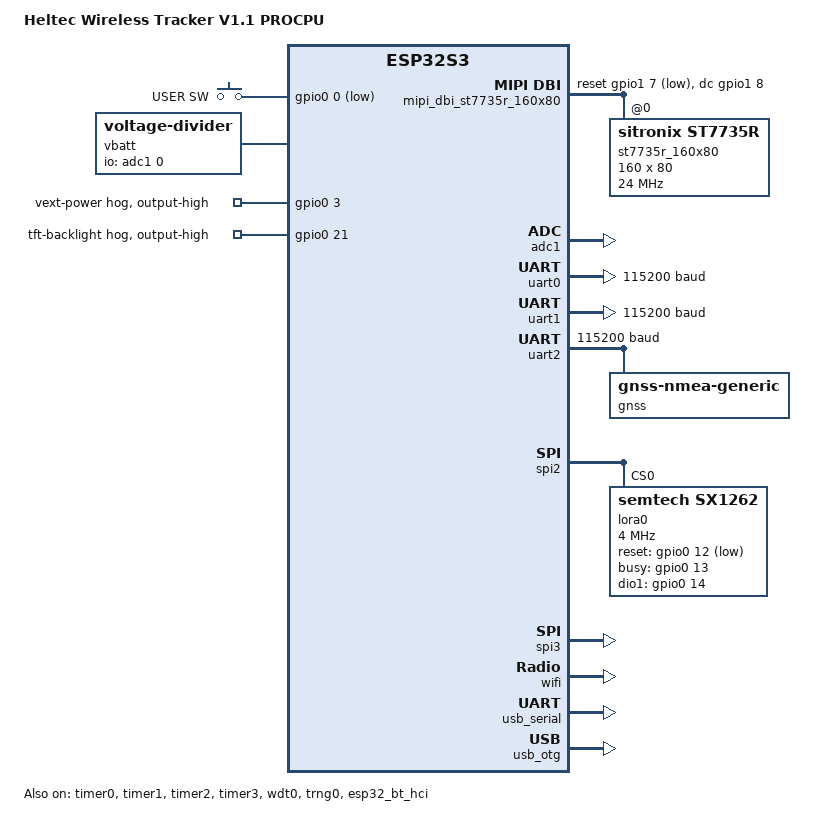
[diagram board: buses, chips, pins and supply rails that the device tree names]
/*
 * SPDX-FileCopyrightText: Copyright (c) 2021 Instituto de Pesquisas Eldorado (eldorado.org.br)
 * SPDX-FileCopyrightText: Copyright (c) 2022 Espressif Systems (Shanghai) Co., Ltd.
 * SPDX-FileCopyrightText: Copyright (c) 2023 The Zephyr Project Contributors
 *
 * SPDX-License-Identifier: Apache-2.0
 */
/dts-v1/;

#include <espressif/esp32s3/esp32s3_fn8.dtsi>
#include <espressif/partitions_0x0_amp.dtsi>
#include <zephyr/dt-bindings/input/input-event-codes.h>
#include <zephyr/dt-bindings/lora/sx126x.h>
#include "heltec_wireless_tracker-pinctrl.dtsi"

/ {
	model = "Heltec Wireless Tracker V1.1 PROCPU";
	compatible = "espressif,esp32s3";

	aliases {
		uart-0 = &uart0;
		uart-1 = &uart1;
		uart-2 = &uart2;
		lora0 = &lora0;
		sw0 = &button0;
		watchdog0 = &wdt0;
		gnss = &gnss;
		display0 = &st7735r_160x80;
	};

	gnss_rst: gnss_rst {
		compatible = "gpio-leds";
		gpios = <&gpio1 3 GPIO_ACTIVE_HIGH>;
		label = "GNSS Reset";
	};

	buttons {
		compatible = "gpio-keys";

		button0: button_0 {
			gpios = <&gpio0 0 (GPIO_PULL_UP | GPIO_ACTIVE_LOW)>;
			label = "USER SW";
			zephyr,code = <INPUT_KEY_0>;
		};
	};

	vbatt {
		compatible = "voltage-divider";
		io-channels = <&adc1 0>;
		output-ohms = <100000>;
		full-ohms = <(100000 + 390000)>;
	};

	chosen {
		zephyr,sram = &sram1;
		zephyr,console = &usb_serial;
		zephyr,shell-uart = &usb_serial;
		zephyr,flash = &flash0;
		zephyr,code-partition = &slot0_partition;
		zephyr,bt-hci = &esp32_bt_hci;
		zephyr,display = &st7735r_160x80;
	};

	mipi_dbi_st7735r_160x80 {
		compatible = "zephyr,mipi-dbi-spi";
		spi-dev = <&spi3>;
		dc-gpios = <&gpio1 8 GPIO_ACTIVE_HIGH>;  /* GPIO 40 = gpio1 pin 8 (40-32) */
		reset-gpios = <&gpio1 7 GPIO_ACTIVE_LOW>;  /* GPIO 39 = gpio1 pin 7 (39-32) */
		#address-cells = <1>;
		#size-cells = <0>;
		write-only;
		status = "okay";

		st7735r_160x80: st7735r@0 {
			compatible = "sitronix,st7735r";
			mipi-max-frequency = <24000000>;
			mipi-mode = "MIPI_DBI_MODE_SPI_4WIRE";
			reg = <0>;
			width = <160>;
			height = <80>;
			inversion-on;
			x-offset = <1>;
			y-offset = <26>;
			madctl = <0xa8>;
			colmod = <0x05>;
			invctr = <7>;
			vmctr1 = <0x0e>;
			pwctr1 = [a2 02 84];
			pwctr2 = [c1];
			pwctr3 = [0a 00];
			pwctr4 = [8a 2a];
			pwctr5 = [8a ee];
			frmctr1 = [01 26 2e];
			frmctr2 = [01 26 2e];
			frmctr3 = [01 26 2e 01 26 2e];
			gamctrp1 = [0f 1a 0f 18 2f 28 20 22 1f 1b 23 37 00 07 02 10];
			gamctrn1 = [0f 1b 0f 17 33 2c 29 2e 30 2e 30 3b 00 07 03 10];
			caset = [00 01 00 a0];
			raset = [00 1a 00 69];
		};
	};
};

&adc1 {
	status = "okay";
};

&uart0 {
	status = "okay";
	current-speed = <115200>;
	pinctrl-0 = <&uart0_default>;
	pinctrl-names = "default";
};

&uart1 {
	status = "okay";
	current-speed = <115200>;
	pinctrl-0 = <&uart1_default>;
	pinctrl-names = "default";
};

&uart2 {
	status = "okay";
	current-speed = <115200>;
	pinctrl-0 = <&uart2_default>;
	pinctrl-names = "default";

	gnss: gnss-nmea-generic {
		compatible = "gnss-nmea-generic";
		status = "okay";
	};
};

&gpio0 {
	status = "okay";

	vext-power {
		gpio-hog;
		gpios = <3 GPIO_ACTIVE_HIGH>;
		output-high;
	};

	tft-backlight {
		gpio-hog;
		gpios = <21 GPIO_ACTIVE_HIGH>;
		output-high;
	};
};

&gpio1 {
	status = "okay";
};

&spi2 {
	#address-cells = <1>;
	#size-cells = <0>;
	status = "okay";
	pinctrl-0 = <&spim2_default>;
	pinctrl-names = "default";

	lora0: lora@0 {
		compatible = "semtech,sx1262";
		reg = <0>;
		reset-gpios = <&gpio0 12 (GPIO_OPEN_DRAIN | GPIO_ACTIVE_LOW)>;
		busy-gpios = <&gpio0 13 GPIO_ACTIVE_HIGH>;
		dio1-gpios = <&gpio0 14 GPIO_ACTIVE_HIGH>;
		dio2-tx-enable;
		dio3-tcxo-voltage = <SX126X_DIO3_TCXO_1V8>;
		tcxo-power-startup-delay-ms = <5>;
		spi-max-frequency = <4000000>;
	};
};

&spi3 {
	#address-cells = <1>;
	#size-cells = <0>;
	pinctrl-0 = <&spim3_default>;
	cs-gpios = <&gpio1 6 GPIO_ACTIVE_LOW>;
	pinctrl-names = "default";
	use-iomux;
	status = "okay";
};

&twai {
	pinctrl-0 = <&twai_default>;
	pinctrl-names = "default";
};

&timer0 {
	status = "okay";
};

&timer1 {
	status = "okay";
};

&timer2 {
	status = "okay";
};

&timer3 {
	status = "okay";
};

&wdt0 {
	status = "okay";
};

&trng0 {
	status = "okay";
};

&esp32_bt_hci {
	status = "okay";
};

&wifi {
	status = "okay";
};

&usb_serial {
	status = "okay";
};

&usb_otg {
	status = "okay";
};

&lora0 {
	status = "okay";
};

&st7735r_160x80 {
	status = "okay";
};
